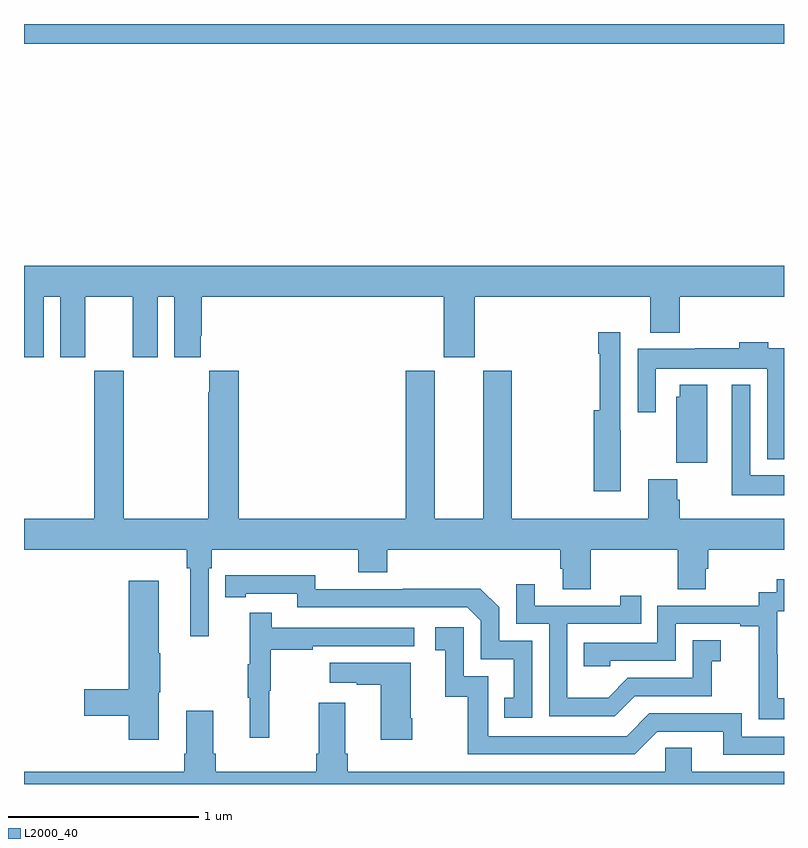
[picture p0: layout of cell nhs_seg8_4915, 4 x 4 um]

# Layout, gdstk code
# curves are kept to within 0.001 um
import gdstk
lib = gdstk.Library(unit=1e-6, precision=1e-09)
def R(c, l, rs):  # rectangles x0, y0, x1, y1
    for r in rs: c.add(gdstk.rectangle(r[:2], r[2:], *l))
def P(c, l, *ps):  # polygons
    for p in ps: c.add(gdstk.Polygon(p, *l))
L2000_40 = (2000, 40)

nhs_seg8_4915 = lib.new_cell('nhs_seg8_4915')
R(nhs_seg8_4915, L2000_40, [(407,1153.796,411,1153.9)])
P(nhs_seg8_4915, L2000_40, [(407.104,1152.464),(407.192,1152.464),(407.192,1152.147),(407.323,1152.147),(407.323,1152.464),(407.573,1152.464),(407.573,1152.147),(407.704,1152.147),(407.704,1152.464),(407.792,1152.464),(407.792,1152.147),(407.929,1152.147),(407.929,1152.259),(407.936,1152.259),(407.936,1152.464),(409.208,1152.464),(409.208,1152.147),(409.372,1152.147),(409.372,1152.464),(410.297,1152.464),(410.297,1152.275),(410.45,1152.275),(410.45,1152.464),(411,1152.464),(411,1152.628),(407,1152.628),(407,1152.147),(407.104,1152.147)],
  [(410.14,1151.762),(410.139,1151.762),(410.139,1152.277),(410.023,1152.277),(410.023,1152.164),(410.031,1152.164),(410.031,1151.866),(409.999,1151.866),(409.999,1151.442),(410.14,1151.442)],
  [(411,1152.193),(410.917,1152.193),(410.917,1152.226),(410.765,1152.226),(410.765,1152.193),(410.533,1152.193),(410.533,1152.19),(410.229,1152.19),(410.229,1151.856),(410.325,1151.856),(410.325,1152.086),(410.913,1152.086),(410.913,1151.609),(411,1151.609)],
  [(407.973,1151.036),(407.987,1151.036),(407.987,1151.132),(408.758,1151.132),(408.758,1151.015),(408.911,1151.015),(408.911,1151.132),(409.823,1151.132),(409.823,1151.034),(409.835,1151.034),(409.835,1150.924),(409.983,1150.924),(409.983,1151.132),(410.44,1151.132),(410.44,1150.924),(410.587,1150.924),(410.587,1151.034),(410.6,1151.034),(410.6,1151.132),(411,1151.132),(411,1151.296),(410.45,1151.296),(410.45,1151.396),(410.437,1151.396),(410.437,1151.505),(410.285,1151.505),(410.285,1151.296),(409.566,1151.296),(409.566,1152.075),(409.418,1152.075),(409.418,1151.296),(409.162,1151.296),(409.162,1152.075),(409.01,1152.075),(409.01,1151.296),(408.131,1151.296),(408.131,1152.076),(407.975,1152.076),(407.975,1151.963),(407.971,1151.963),(407.971,1151.296),(407.526,1151.296),(407.526,1152.076),(407.371,1152.076),(407.371,1151.296),(407,1151.296),(407,1151.132),(407.857,1151.132),(407.857,1151.036),(407.876,1151.036),(407.876,1150.677),(407.973,1150.677)],
  [(410.596,1152.001),(410.45,1152.001),(410.45,1151.937),(410.432,1151.937),(410.432,1151.59),(410.596,1151.59)],
  [(411,1151.524),(410.823,1151.524),(410.823,1152.001),(410.726,1152.001),(410.726,1151.42),(411,1151.42)],
  [(409.674,1150.653),(409.5,1150.653),(409.5,1150.83),(409.402,1150.928),(408.994,1150.928),(408.994,1150.926),(408.534,1150.926),(408.534,1150.999),(408.058,1150.998),(408.058,1150.882),(408.166,1150.882),(408.166,1150.902),(408.438,1150.902),(408.438,1150.83),(409.332,1150.83),(409.404,1150.758),(409.404,1150.557),(409.577,1150.557),(409.577,1150.353),(409.528,1150.353),(409.528,1150.248),(409.674,1150.248)],
  [(411,1150.351),(410.966,1150.351),(410.966,1150.58),(410.964,1150.58),(410.964,1150.809),(411,1150.809),(411,1150.978),(410.961,1150.978),(410.961,1150.908),(410.868,1150.908),(410.868,1150.839),(410.334,1150.839),(410.334,1150.644),(409.945,1150.644),(409.945,1150.521),(410.085,1150.521),(410.085,1150.548),(410.43,1150.548),(410.43,1150.743),(410.771,1150.743),(410.771,1150.731),(410.867,1150.731),(410.867,1150.447),(410.866,1150.447),(410.866,1150.241),(411,1150.241)],
  [(407.71,1150.383),(407.718,1150.383),(407.718,1150.589),(407.71,1150.589),(407.71,1150.969),(407.552,1150.969),(407.552,1150.4),(407.316,1150.4),(407.316,1150.258),(407.552,1150.258),(407.552,1150.134),(407.71,1150.134)],
  [(410.215,1150.362),(410.619,1150.362),(410.619,1150.547),(410.668,1150.547),(410.668,1150.657),(410.52,1150.657),(410.52,1150.458),(410.178,1150.458),(410.074,1150.354),(409.86,1150.354),(409.86,1150.743),(410.249,1150.743),(410.249,1150.891),(410.138,1150.891),(410.138,1150.839),(409.687,1150.839),(409.687,1150.951),(409.59,1150.951),(409.59,1150.743),(409.764,1150.743),(409.764,1150.257),(410.11,1150.257)],
  [(408.29,1150.392),(408.298,1150.392),(408.298,1150.606),(408.521,1150.606),(408.521,1150.626),(409.054,1150.626),(409.054,1150.722),(408.305,1150.722),(408.305,1150.801),(408.188,1150.801),(408.188,1150.529),(408.177,1150.529),(408.177,1150.355),(408.188,1150.355),(408.188,1150.143),(408.29,1150.143)],
  [(411,1150.149),(410.778,1150.149),(410.778,1150.272),(410.292,1150.272),(410.172,1150.152),(409.443,1150.152),(409.443,1150.467),(409.314,1150.467),(409.314,1150.726),(409.164,1150.726),(409.164,1150.605),(409.217,1150.605),(409.217,1150.359),(409.335,1150.359),(409.335,1150.056),(410.214,1150.056),(410.334,1150.176),(410.681,1150.176),(410.681,1150.053),(411,1150.053)],
  [(409.044,1150.246),(409.036,1150.246),(409.036,1150.537),(408.609,1150.537),(408.609,1150.433),(408.752,1150.433),(408.752,1150.423),(408.878,1150.423),(408.878,1150.134),(409.044,1150.134)],
  [(411,1149.964),(410.515,1149.964),(410.515,1150.091),(410.376,1150.091),(410.376,1149.964),(408.704,1149.964),(408.704,1150.06),(408.691,1150.06),(408.691,1150.327),(408.551,1150.327),(408.551,1150.06),(408.539,1150.06),(408.539,1149.964),(408.008,1149.964),(408.008,1150.06),(407.995,1150.06),(407.995,1150.285),(407.855,1150.285),(407.855,1150.06),(407.843,1150.06),(407.843,1149.964),(407,1149.964),(407,1149.9),(411,1149.9)])

lib.write_gds('nhs_seg8_4915.gds')
